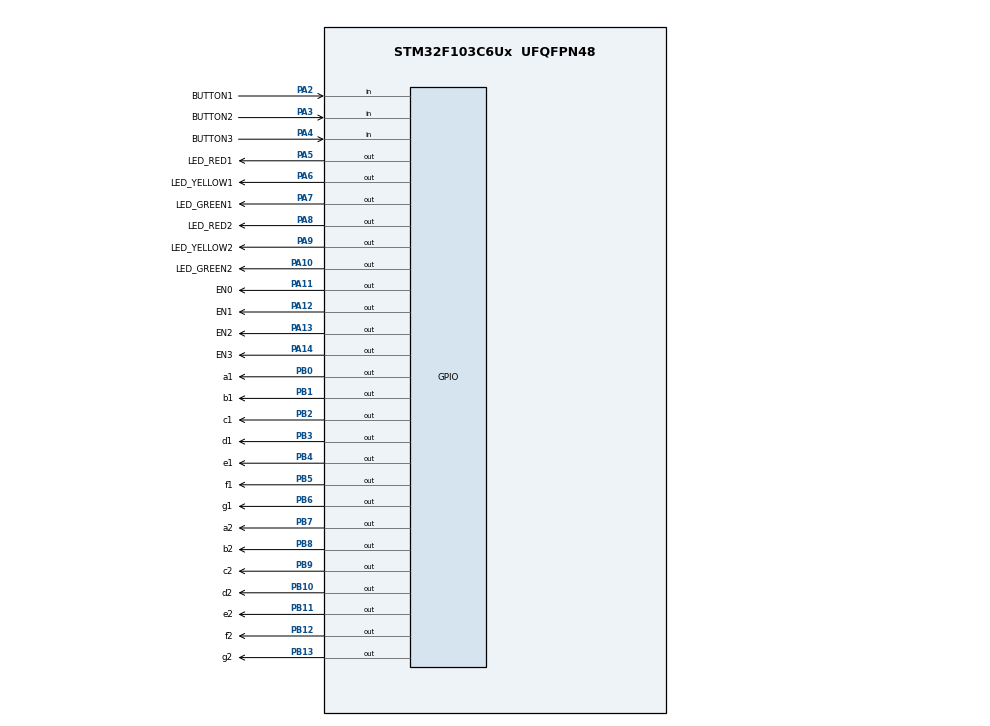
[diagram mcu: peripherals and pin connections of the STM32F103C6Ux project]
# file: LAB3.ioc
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Mcu.Family=STM32F1
Mcu.Name=STM32F103C6Ux
Mcu.Package=UFQFPN48
NVIC.PriorityGroup=NVIC_PRIORITYGROUP_4
NVIC.TIM2_IRQn=true\:0\:0\:false\:false\:true\:true\:true
PA10.GPIO_Label=LED_GREEN2
PA10.Signal=GPIO_Output
PA11.GPIO_Label=EN0
PA11.Signal=GPIO_Output
PA12.GPIO_Label=EN1
PA12.Signal=GPIO_Output
PA13.GPIO_Label=EN2
PA13.Signal=GPIO_Output
PA14.GPIO_Label=EN3
PA14.Signal=GPIO_Output
PA2.GPIO_Label=BUTTON1
PA2.GPIO_PuPd=GPIO_PULLUP
PA2.Signal=GPIO_Input
PA3.GPIO_Label=BUTTON2
PA3.GPIO_PuPd=GPIO_PULLUP
PA3.Signal=GPIO_Input
PA4.GPIO_Label=BUTTON3
PA4.GPIO_PuPd=GPIO_PULLUP
PA4.Signal=GPIO_Input
PA5.GPIO_Label=LED_RED1
PA5.Signal=GPIO_Output
PA6.GPIO_Label=LED_YELLOW1
PA6.Signal=GPIO_Output
PA7.GPIO_Label=LED_GREEN1
PA7.Signal=GPIO_Output
PA8.GPIO_Label=LED_RED2
PA8.Signal=GPIO_Output
PA9.GPIO_Label=LED_YELLOW2
PA9.Signal=GPIO_Output
PB0.GPIO_Label=a1
PB0.Signal=GPIO_Output
PB1.GPIO_Label=b1
PB1.Signal=GPIO_Output
PB10.GPIO_Label=d2
PB10.Signal=GPIO_Output
PB11.GPIO_Label=e2
PB11.Signal=GPIO_Output
PB12.GPIO_Label=f2
PB12.Signal=GPIO_Output
PB13.GPIO_Label=g2
PB13.Signal=GPIO_Output
PB2.GPIO_Label=c1
PB2.Signal=GPIO_Output
PB3.GPIO_Label=d1
PB3.Signal=GPIO_Output
PB4.GPIO_Label=e1
PB4.Signal=GPIO_Output
PB5.GPIO_Label=f1
PB5.Signal=GPIO_Output
PB6.GPIO_Label=g1
PB6.Signal=GPIO_Output
PB7.GPIO_Label=a2
PB7.Signal=GPIO_Output
PB8.GPIO_Label=b2
PB8.Signal=GPIO_Output
PB9.GPIO_Label=c2
PB9.Signal=GPIO_Output
ProjectManager.HeapSize=0x200
ProjectManager.StackSize=0x400
ProjectManager.TargetToolchain=STM32CubeIDE
RCC.APB1Freq_Value=8000000
RCC.APB2Freq_Value=8000000
TIM2.Period=9
TIM2.Prescaler=7999
VP_SYS_VS_ND.Mode=No_Debug
VP_TIM2_VS_ClockSourceINT.Mode=Internal
board=custom

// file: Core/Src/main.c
/* USER CODE BEGIN Header */
/**
  ******************************************************************************
  * @file           : main.c
  * @brief          : Main program body
  ******************************************************************************
  * @attention
  *
  * <h2><center>&copy; Copyright (c) 2025 STMicroelectronics.
  * All rights reserved.</center></h2>
  *
  * This software component is licensed by ST under BSD 3-Clause license,
  * the "License"; You may not use this file except in compliance with the
  * License. You may obtain a copy of the License at:
  *                        opensource.org/licenses/BSD-3-Clause
  *
  ******************************************************************************
  */
/* USER CODE END Header */
#include "main.h"

/* USER CODE BEGIN Includes */
#include "button.h"
#include "software_timer.h"
#include "fsm_automatic.h"
/* USER CODE END Includes */

TIM_HandleTypeDef htim2;

void SystemClock_Config(void);
static void MX_GPIO_Init(void);
static void MX_TIM2_Init(void);

int main(void)
{

  /* MCU Configuration--------------------------------------------------------*/

  /* Reset of all peripherals, Initializes the Flash interface and the Systick. */
  HAL_Init();

  /* Configure the system clock */
  SystemClock_Config();

  /* Initialize all configured peripherals */
  MX_GPIO_Init();
  MX_TIM2_Init();
  /* USER CODE BEGIN 2 */
  HAL_TIM_Base_Start_IT(&htim2);
  /* USER CODE END 2 */

  /* Infinite loop */
  /* USER CODE BEGIN WHILE */
  setTimer1(50);
  setTimer2(250);
  setTimer3(50);
  setTimer4(50);
  setTimer5(50);

  HAL_GPIO_WritePin(EN0_GPIO_Port, EN0_Pin, GPIO_PIN_SET);
  HAL_GPIO_WritePin(EN1_GPIO_Port, EN1_Pin, GPIO_PIN_SET);
  HAL_GPIO_WritePin(EN2_GPIO_Port, EN2_Pin, GPIO_PIN_SET);
  HAL_GPIO_WritePin(EN3_GPIO_Port, EN3_Pin, GPIO_PIN_SET);
  while (1)
  {
	 //LAB3
	  fsm_automatic_run();
    /* USER CODE END WHILE */

  }
}

void SystemClock_Config(void)
{
  RCC_OscInitTypeDef RCC_OscInitStruct = {0};
  RCC_ClkInitTypeDef RCC_ClkInitStruct = {0};

  /** Initializes the RCC Oscillators according to the specified parameters
  * in the RCC_OscInitTypeDef structure.
  */
  RCC_OscInitStruct.OscillatorType = RCC_OSCILLATORTYPE_HSI;
  RCC_OscInitStruct.HSIState = RCC_HSI_ON;
  RCC_OscInitStruct.HSICalibrationValue = RCC_HSICALIBRATION_DEFAULT;
  RCC_OscInitStruct.PLL.PLLState = RCC_PLL_NONE;
  if (HAL_RCC_OscConfig(&RCC_OscInitStruct) != HAL_OK)
  {
    Error_Handler();
  }
  /** Initializes the CPU, AHB and APB buses clocks
  */
  RCC_ClkInitStruct.ClockType = RCC_CLOCKTYPE_HCLK|RCC_CLOCKTYPE_SYSCLK
                              |RCC_CLOCKTYPE_PCLK1|RCC_CLOCKTYPE_PCLK2;
  RCC_ClkInitStruct.SYSCLKSource = RCC_SYSCLKSOURCE_HSI;
  RCC_ClkInitStruct.AHBCLKDivider = RCC_SYSCLK_DIV1;
  RCC_ClkInitStruct.APB1CLKDivider = RCC_HCLK_DIV1;
  RCC_ClkInitStruct.APB2CLKDivider = RCC_HCLK_DIV1;

  if (HAL_RCC_ClockConfig(&RCC_ClkInitStruct, FLASH_LATENCY_0) != HAL_OK)
  {
    Error_Handler();
  }
}

static void MX_TIM2_Init(void)
{

  TIM_ClockConfigTypeDef sClockSourceConfig = {0};
  TIM_MasterConfigTypeDef sMasterConfig = {0};

  htim2.Instance = TIM2;
  htim2.Init.Prescaler = 7999;
  htim2.Init.CounterMode = TIM_COUNTERMODE_UP;
  htim2.Init.Period = 9;
  htim2.Init.ClockDivision = TIM_CLOCKDIVISION_DIV1;
  htim2.Init.AutoReloadPreload = TIM_AUTORELOAD_PRELOAD_DISABLE;
  if (HAL_TIM_Base_Init(&htim2) != HAL_OK)
  {
    Error_Handler();
  }
  sClockSourceConfig.ClockSource = TIM_CLOCKSOURCE_INTERNAL;
  if (HAL_TIM_ConfigClockSource(&htim2, &sClockSourceConfig) != HAL_OK)
  {
    Error_Handler();
  }
  sMasterConfig.MasterOutputTrigger = TIM_TRGO_RESET;
  sMasterConfig.MasterSlaveMode = TIM_MASTERSLAVEMODE_DISABLE;
  if (HAL_TIMEx_MasterConfigSynchronization(&htim2, &sMasterConfig) != HAL_OK)
  {
    Error_Handler();
  }

}

static void MX_GPIO_Init(void)
{
  GPIO_InitTypeDef GPIO_InitStruct = {0};

  /* GPIO Ports Clock Enable */
  __HAL_RCC_GPIOA_CLK_ENABLE();
  __HAL_RCC_GPIOB_CLK_ENABLE();

  /*Configure GPIO pin Output Level */
  HAL_GPIO_WritePin(GPIOA, LED_RED1_Pin|LED_YELLOW1_Pin|LED_GREEN1_Pin|LED_RED2_Pin
                          |LED_YELLOW2_Pin|LED_GREEN2_Pin|EN0_Pin|EN1_Pin
                          |EN2_Pin|EN3_Pin, GPIO_PIN_RESET);

  /*Configure GPIO pin Output Level */
  HAL_GPIO_WritePin(GPIOB, a1_Pin|b1_Pin|c1_Pin|d2_Pin
                          |e2_Pin|f2_Pin|g2_Pin|d1_Pin
                          |e1_Pin|f1_Pin|g1_Pin|a2_Pin
                          |b2_Pin|c2_Pin, GPIO_PIN_RESET);

  /*Configure GPIO pins : BUTTON1_Pin BUTTON2_Pin BUTTON3_Pin */
  GPIO_InitStruct.Pin = BUTTON1_Pin|BUTTON2_Pin|BUTTON3_Pin;
  GPIO_InitStruct.Mode = GPIO_MODE_INPUT;
  GPIO_InitStruct.Pull = GPIO_PULLUP;
  HAL_GPIO_Init(GPIOA, &GPIO_InitStruct);

  /*Configure GPIO pins : LED_RED1_Pin LED_YELLOW1_Pin LED_GREEN1_Pin LED_RED2_Pin
                           LED_YELLOW2_Pin LED_GREEN2_Pin EN0_Pin EN1_Pin
                           EN2_Pin EN3_Pin */
  GPIO_InitStruct.Pin = LED_RED1_Pin|LED_YELLOW1_Pin|LED_GREEN1_Pin|LED_RED2_Pin
                          |LED_YELLOW2_Pin|LED_GREEN2_Pin|EN0_Pin|EN1_Pin
                          |EN2_Pin|EN3_Pin;
  GPIO_InitStruct.Mode = GPIO_MODE_OUTPUT_PP;
  GPIO_InitStruct.Pull = GPIO_NOPULL;
  GPIO_InitStruct.Speed = GPIO_SPEED_FREQ_LOW;
  HAL_GPIO_Init(GPIOA, &GPIO_InitStruct);

  /*Configure GPIO pins : a1_Pin b1_Pin c1_Pin d2_Pin
                           e2_Pin f2_Pin g2_Pin d1_Pin
                           e1_Pin f1_Pin g1_Pin a2_Pin
                           b2_Pin c2_Pin */
  GPIO_InitStruct.Pin = a1_Pin|b1_Pin|c1_Pin|d2_Pin
                          |e2_Pin|f2_Pin|g2_Pin|d1_Pin
                          |e1_Pin|f1_Pin|g1_Pin|a2_Pin
                          |b2_Pin|c2_Pin;
  GPIO_InitStruct.Mode = GPIO_MODE_OUTPUT_PP;
  GPIO_InitStruct.Pull = GPIO_NOPULL;
  GPIO_InitStruct.Speed = GPIO_SPEED_FREQ_LOW;
  HAL_GPIO_Init(GPIOB, &GPIO_InitStruct);

}

/* USER CODE BEGIN 4 */
void HAL_TIM_PeriodElapsedCallback(TIM_HandleTypeDef *htim)
{
	timerRun();
	getKeyInput();
}

/* USER CODE END 4 */

void Error_Handler(void)
{
  __disable_irq();
  while (1)
  {
  }
}

/************************ (C) COPYRIGHT STMicroelectronics *****END OF FILE****/
